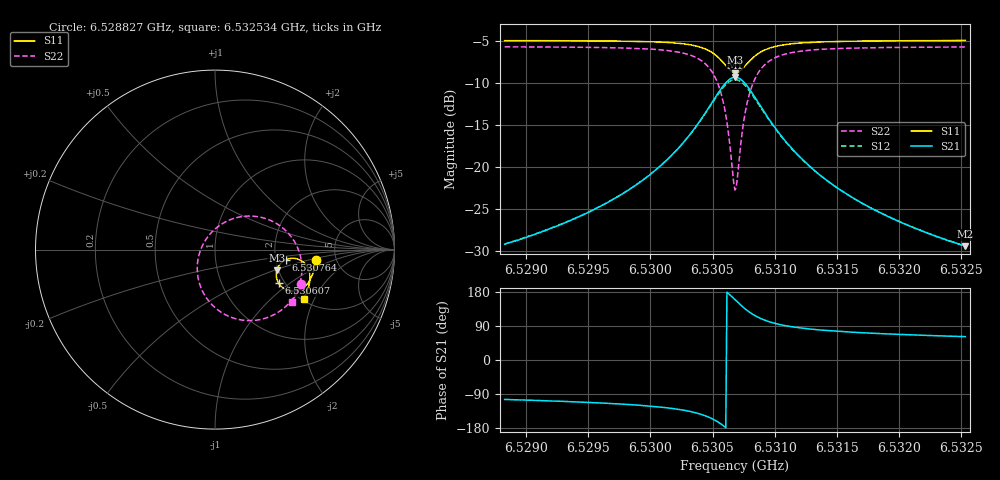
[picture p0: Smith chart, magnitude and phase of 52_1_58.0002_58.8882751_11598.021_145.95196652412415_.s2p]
#  HZ  S  RI  R  50.00
! Rohde & Schwarz Vector Network Analyzer
! Rohde-Schwarz,ZNB20-2Port,1311601062101988,3.16
! Created: UTC 3/21/2024, 12:52:37 AM
! freq[Hz]  re:S11  im:S11  re:S21  im:S21  re:S12  im:S12  re:S22  im:S22
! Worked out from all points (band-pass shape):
!   401 points, 6.528827 GHz to 6.532534 GHz, reference 50 ohm
!   highest |S21| = -9.34 dB at 6.530681 GHz (marker M1); lowest = -29.5 dB at 6.532534 GHz (marker M2)
!   |S21| within 3 dB of the highest: 6.530496 GHz to 6.530867 GHz (371.4 kHz wide, 0.00569 % of centre)
!   lowest |S11| = -8.8 dB at 6.530681 GHz (marker M3), VSWR 2.14, Z = 97.9 - j26.2 ohm
!   |S11| at or under -10 dB: nowhere
!   |S22| runs from -22.8 to -5.7 dB; largest |S21 - S12| = 0.015
!   S11 on the Smith chart (normalised r, x): 6.528827 GHz: 3.47, -0.60; 6.530607 GHz: 1.86, -0.83; 6.530764 GHz: 2.29, -0.30; 6.532534 GHz: 2.06, -1.66
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6.5288274e9  0.5606 -0.0586  -0.00841 -0.0335  -0.00905 -0.0334  0.4818 -0.19
6.5294483e9  0.5511 -0.1124  -0.0186 -0.0477  -0.0197 -0.0475  0.449 -0.2518
6.5297912e9  0.5404 -0.1463  -0.0316 -0.0627  -0.0333 -0.0619  0.4148 -0.2961
6.5300693e9  0.5234 -0.1792  -0.0554 -0.0828  -0.0578 -0.0811  0.3611 -0.343
6.5302917e9  0.4935 -0.2113  -0.102 -0.1059  -0.1054 -0.1021  0.2669 -0.3863
6.5304492e9  0.444 -0.2307  -0.1811 -0.1123  -0.1837 -0.1043  0.122 -0.3871
6.5305419e9  0.393 -0.2218  -0.2611 -0.0789  -0.2593 -0.0672  -0.00987 -0.3141
6.530579e9  0.37 -0.2059  -0.2951 -0.0444  -0.2902 -0.0324  -0.0605 -0.2489
6.5306068e9  0.3549 -0.1873  -0.3163 -0.00781  -0.3083 0.00366  -0.0881 -0.1836
6.5306346e9  0.3444 -0.1631  -0.3286 0.0375  -0.3177 0.0469  -0.099 -0.1062
6.5306624e9  0.3414 -0.1351  -0.3279 0.0877  -0.3152 0.0942  -0.0877 -0.0238
6.5306809e9  0.3443 -0.116  -0.319 0.1212  -0.3058 0.1252  -0.0667 0.0291
6.5306995e9  0.3513 -0.098  -0.3039 0.1522  -0.2908 0.154  -0.0359 0.0771
6.5307365e9  0.3746 -0.0691  -0.2585 0.2011  -0.2475 0.1989  0.0475 0.1485
6.5307643e9  0.3966 -0.0556  -0.2183 0.2231  -0.2095 0.2192  0.1178 0.1774
6.5308292e9  0.4461 -0.0493  -0.1313 0.2329  -0.127 0.2288  0.2648 0.1779
6.5309219e9  0.4919 -0.0697  -0.0536 0.2018  -0.0519 0.1994  0.3915 0.1084
6.5310609e9  0.5199 -0.1073  -0.00593 0.1499  -0.00472 0.149  0.4634 0.00291
6.5313019e9  0.5293 -0.1541  0.015 0.0964  0.0162 0.0961  0.4844 -0.1081
6.5315799e9  0.5255 -0.1904  0.0187 0.0661  0.0197 0.0659  0.476 -0.1777
6.5319228e9  0.5158 -0.2244  0.0181 0.0467  0.0191 0.0465  0.4592 -0.2303
6.5325345e9  0.4945 -0.2736  0.016 0.0296  0.0166 0.0293  0.4275 -0.291
